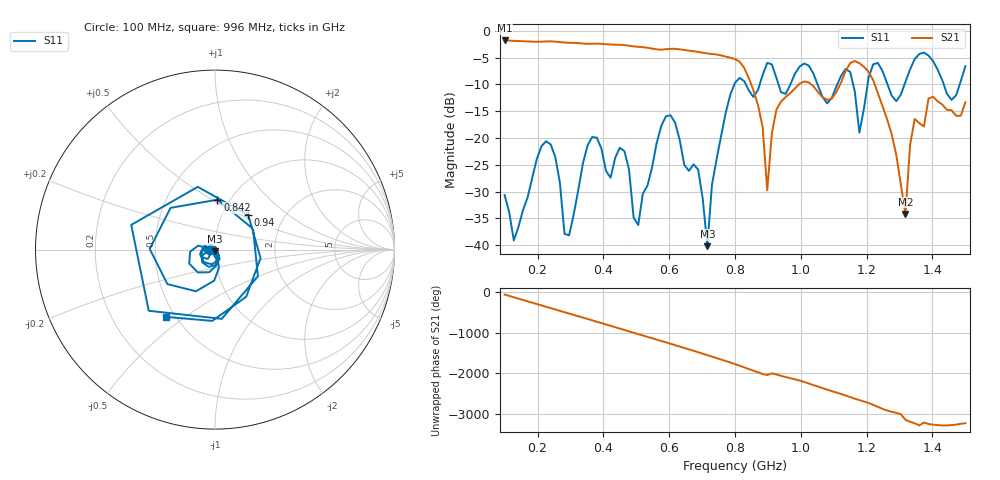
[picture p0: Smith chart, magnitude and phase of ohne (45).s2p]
! NanoVNA-App
! Date: 2025-09-25 14:21:09
! Start: 100MHz Stop: 1,5GHz Points: 101
! S-Parameter data: F S11 S21 S12 S22
# Hz S RI R 50
!  Frequency  S11_Real  S11_Imag  S21_Real  S21_Imag  S12_Real  S12_Imag  S22_Real  S22_Imag
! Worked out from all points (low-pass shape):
!   101 points, 100 MHz to 1.5 GHz, reference 50 ohm
!   highest |S21| = -1.79 dB at 100 MHz (marker M1); lowest = -34.2 dB at 1.318 GHz (marker M2)
!   |S21| within 3 dB of the highest: start of sweep to 771.3 MHz
!   lowest |S11| = -40.2 dB at 716 MHz (marker M3), VSWR 1.02, Z = 49.8 - j0.954 ohm
!   |S11| at or under -10 dB: start of sweep to 798 MHz; 833 MHz to 875.1 MHz (42.06 MHz wide, 4.92 % of centre); 1.051 GHz to 1.111 GHz (59.83 MHz wide, 5.54 % of centre) (the widest 3 of 7)
!   S12 and S22 are empty: the file has one direction only
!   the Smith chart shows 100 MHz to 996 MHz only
!   S11 on the Smith chart (normalised r, x): 100 MHz: 0.94, -0.01; 842 MHz: 0.88, +0.53; 940 MHz: 1.33, +0.55; 996 MHz: 0.45, -0.43
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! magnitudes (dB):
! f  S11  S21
! 100 MHz  -30.6  -1.8
! 128 MHz  -39.1  -1.9
! 226 MHz  -20.6  -2.0
! 296 MHz  -38.2  -2.2
! 338 MHz  -24.7  -2.4
! 464 MHz  -22.4  -2.7
! 506 MHz  -36.2  -3.0
! 576 MHz  -17.7  -3.5
! 688 MHz  -25.9  -3.9
! 716 MHz  -40.2  -4.2
! 800 MHz  -9.7  -5.3
! 842 MHz  -11.1  -8.8
! 898 MHz  -6.0  -29.7
! 940 MHz  -11.5  -13.2
! 996 MHz  -6.7  -9.9
! 1.038 GHz  -7.9  -10.3
! 1.178 GHz  -19.0  -6.0
! 1.22 GHz  -6.2  -9.2
! 1.276 GHz  -12.1  -19.3
! 1.318 GHz  -9.5  -34.2
! 1.346 GHz  -5.3  -16.4
! 1.5 GHz  -6.6  -13.3
